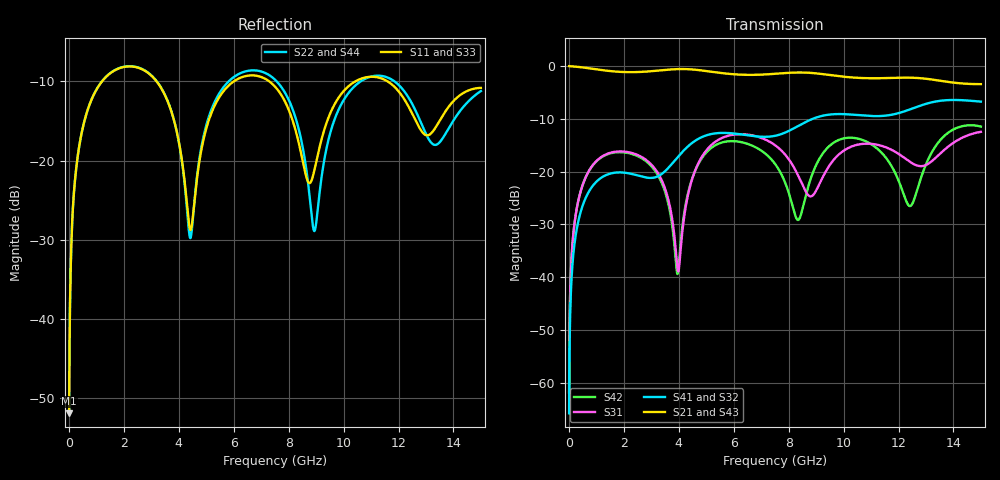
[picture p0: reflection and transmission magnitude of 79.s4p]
! Created with skrf 1.8.0 (http://scikit-rf.org).
# GHz S RI R 50.0
!freq ReS11 ImS11 ReS12 ImS12 ReS13 ImS13
! ReS14 ImS14
! ReS21 ImS21 ReS22 ImS22 ReS23 ImS23
! ReS24 ImS24
! ReS31 ImS31 ReS32 ImS32 ReS33 ImS33
! ReS34 ImS34
! ReS41 ImS41 ReS42 ImS42 ReS43 ImS43
! ReS44 ImS44
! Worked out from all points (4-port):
!   2499 points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, 5 MHz to 15 GHz, reference 50 ohm
!   strongest paths, dB at 5 MHz, 3.476 GHz, 7.19 GHz, 11.1 GHz, 15 GHz:
!     S21: 0.0, -0.7, -1.6, -2.3, -3.4
!     S43: 0.0, -0.7, -1.6, -2.3, -3.4
!     S41: -65.8, -20.0, -13.4, -9.5, -6.7
!     S32: -65.8, -20.0, -13.4, -9.5, -6.7
!     S31: -61.8, -22.9, -14.0, -14.8, -12.5
!     S42: -61.8, -23.5, -16.8, -15.1, -11.5
!   lowest |S11| = -51.9 dB at 5 MHz (marker M1), VSWR 1.01, Z = 50.2 + j0.155 ohm
!   |S11| at or under -10 dB: 3.19 GHz to 6.004 GHz (2.815 GHz wide, 61.2 % of centre); 7.292 GHz to 10.43 GHz (3.138 GHz wide, 35.4 % of centre); 11.6 GHz to end of sweep (the widest 3 of 4)
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0.005  0.00203 0.00154  0.9979 -0.00394  0.000103 0.000806  -0.0001 -0.000506
       0.9979 -0.00394  0.00203 0.00154  -0.0001 -0.000506  0.000103 0.000806
       0.000103 0.000806  -0.0001 -0.000506  0.00203 0.00154  0.9979 -0.00394
       -0.0001 -0.000506  0.000103 0.000806  0.9979 -0.00394  0.00203 0.00154
1.269279  0.2741 0.1769  0.5404 -0.7335  0.1305 0.0571  -0.0906 -0.00496
          0.5404 -0.7335  0.2755 0.1759  -0.0906 -0.00495  0.1265 0.0626
          0.1305 0.0571  -0.0906 -0.00495  0.274 0.1768  0.5404 -0.7335
          -0.0906 -0.00496  0.1265 0.0626  0.5404 -0.7335  0.2755 0.1758
4.345561  0.0363 -0.0242  -0.9273 -0.1126  0.00236 0.0622  -0.0178 0.1739
          -0.9273 -0.1126  0.0321 -0.023  -0.0175 0.1739  -0.00792 0.0639
          0.00236 0.0622  -0.0175 0.1739  0.0368 -0.0226  -0.9274 -0.1124
          -0.0178 0.1739  -0.00792 0.0639  -0.9274 -0.1124  0.0311 -0.0216
6.715298  0.3446 -0.00234  -0.0773 0.8222  0.1845 -0.119  0.2102 -0.0558
          -0.0773 0.8222  0.3702 -0.0261  0.2101 -0.0561  0.1733 -0.0195
          0.1845 -0.119  0.2101 -0.0561  0.3453 -0.00246  -0.0783 0.8219
          0.2102 -0.0558  0.1733 -0.0195  -0.0783 0.8219  0.3708 -0.0249
8.891205  0.0749 0.0301  0.8503 0.1175  -0.0414 0.0436  0.0357 -0.3157
          0.8503 0.1175  0.0351 -0.014  0.0348 -0.3157  0.0586 0.0803
          -0.0414 0.0436  0.0348 -0.3157  0.0765 0.0305  0.85 0.1199
          0.0357 -0.3157  0.0586 0.0803  0.85 0.1199  0.0335 -0.0137
11.65486  0.3042 -0.0685  -0.1105 -0.7632  0.0462 -0.1588  -0.3319 0.0856
          -0.1105 -0.7632  0.3244 -0.0672  -0.3316 0.0863  0.0648 -0.1049
          0.0462 -0.1588  -0.3316 0.0863  0.3057 -0.0684  -0.1053 -0.7637
          -0.3319 0.0856  0.0648 -0.1049  -0.1053 -0.7637  0.3261 -0.0637
15  0.2876 -0.00744  -0.4438 0.5078  0.238 -0.0155  0.4008 0.2273
    -0.4438 0.5078  0.2713 0.0427  0.4009 0.2252  0.2637 0.0444
    0.238 -0.0155  0.4009 0.2252  0.2849 -0.00985  -0.4529 0.5023
    0.4008 0.2273  0.2637 0.0444  -0.4529 0.5023  0.2641 0.0462
